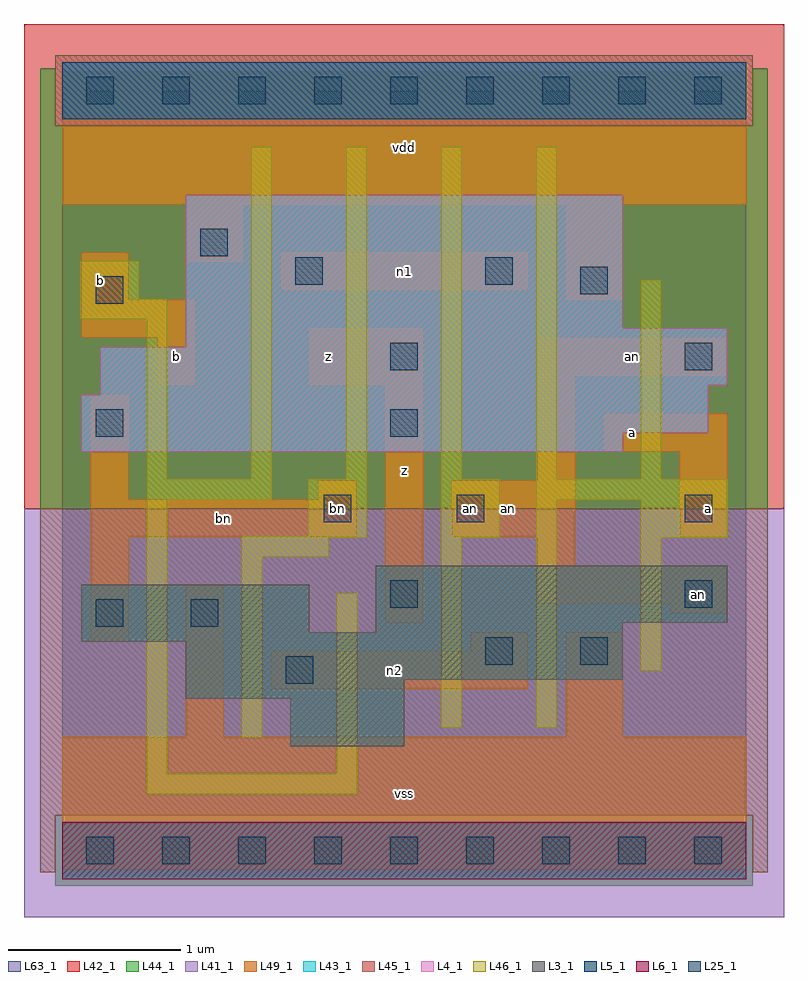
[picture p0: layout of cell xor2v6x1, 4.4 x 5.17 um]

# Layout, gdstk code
import gdstk
lib = gdstk.Library(unit=1e-6, precision=1e-09)
def R(c, l, rs):  # rectangles x0, y0, x1, y1
    for r in rs: c.add(gdstk.rectangle(r[:2], r[2:], *l))
def A(c, l, x, y, w, h, nx, ny, dx, dy):  # array of equal rectangles
    R(c, l, [(x+i*dx, y+j*dy, x+i*dx+w, y+j*dy+h) for i in range(nx) for j in range(ny)])
L3_1 = (3, 1)
L4_1 = (4, 1)
L5_1 = (5, 1)
L6_1 = (6, 1)
L25_1 = (25, 1)
L41_1 = (41, 1)
L42_1 = (42, 1)
L43_1 = (43, 1)
L44_1 = (44, 1)
L45_1 = (45, 1)
L46_1 = (46, 1)
L49_1 = (49, 1)
L63_1 = (63, 1)

xor2v6x1 = lib.new_cell('xor2v6x1')
R(xor2v6x1, L3_1, [(1.32,0.605,1.98,0.88), (0.715,0.88,1.98,0.99), (0.715,0.99,3.245,1.21), (0.11,1.21,3.245,1.265), (0.11,1.265,1.43,1.54), (1.815,1.265,3.245,1.32), (1.815,1.32,3.85,1.65)])
R(xor2v6x1, L4_1, [(0.11,2.31,3.245,2.42), (0.11,2.42,3.74,2.64), (0.22,2.64,3.74,2.695), (0.22,2.695,3.85,2.915), (0.715,2.915,3.85,3.025), (0.715,3.025,3.245,3.795)])
R(xor2v6x1, L5_1, [(0,4.235,3.96,4.565)])
R(xor2v6x1, L6_1, [(0,-0.165,3.96,0.165)])
A(xor2v6x1, L25_1, 0.14, -0.08, 0.16, 0.16, 9, 2, 0.44, 4.4)
R(xor2v6x1, L25_1, [(1.295,0.965,1.455,1.125), (2.45,1.075,2.61,1.235), (3,1.075,3.16,1.235), (0.195,1.295,0.355,1.455), (0.745,1.295,0.905,1.455), (1.9,1.405,2.06,1.565), (3.605,1.405,3.765,1.565), (1.515,1.9,1.675,2.06), (2.285,1.9,2.445,2.06), (3.605,1.9,3.765,2.06), (0.195,2.395,0.355,2.555), (1.9,2.395,2.06,2.555), (1.9,2.78,2.06,2.94), (3.605,2.78,3.765,2.94), (0.195,3.165,0.355,3.325), (3,3.22,3.16,3.38), (1.35,3.275,1.51,3.435), (2.45,3.275,2.61,3.435), (0.8,3.44,0.96,3.6)])
R(xor2v6x1, L41_1, [(-0.22,-0.385,4.18,1.98)])
R(xor2v6x1, L42_1, [(-0.22,1.98,4.18,4.785)])
R(xor2v6x1, L43_1, [(0,-0.165,3.96,0.165), (1.32,0.605,1.98,0.88), (0.715,0.88,1.98,0.99), (0.715,0.99,3.245,1.21), (0.11,1.21,3.245,1.265), (0.11,1.265,1.43,1.54), (1.815,1.265,3.245,1.32), (1.815,1.32,3.85,1.65), (0.11,2.31,3.245,2.42), (0.11,2.42,3.74,2.64), (0.22,2.64,3.74,2.695), (0.22,2.695,3.85,2.915), (0.715,2.915,3.85,3.025), (0.715,3.025,3.245,3.795), (0,4.235,3.96,4.565)])
R(xor2v6x1, L44_1, [(-0.04,-0.205,4,0.205), (-0.125,1.98,4.085,4.195), (-0.125,4.195,-0.04,4.525), (4,4.195,4.085,4.525)])
R(xor2v6x1, L45_1, [(-0.125,-0.125,-0.04,0.205), (4,-0.125,4.085,0.205), (-0.125,0.205,4.085,1.98), (-0.04,4.195,4,4.605)])
A(xor2v6x1, L46_1, 1.095, 2.15, 0.12, 1.925, 4, 1, 0.55, 0)
R(xor2v6x1, L46_1, [(0.49,0.325,1.71,0.445), (0.49,0.445,0.61,2.03), (1.59,0.445,1.71,1.49), (1.04,0.655,1.16,1.7), (2.195,0.71,2.315,1.81), (2.745,0.71,2.865,2.03), (3.35,1.04,3.47,1.81), (1.04,1.7,1.545,1.81), (1.04,1.81,1.765,1.82), (2.195,1.81,2.535,2.15), (3.35,1.81,3.855,2.03), (1.425,1.82,1.765,2.15), (0.49,2.03,1.215,2.15), (2.745,2.03,3.855,2.15), (0.49,2.15,0.61,3.075), (3.35,2.15,3.47,3.305), (0.105,3.075,0.61,3.195), (0.105,3.195,0.445,3.415)])
R(xor2v6x1, L49_1, [(0,-0.11,3.96,0.66), (0.715,0.66,0.935,1.54), (2.915,0.66,3.245,1.265), (1.21,0.935,2.695,1.155), (2.365,1.155,2.695,1.265), (0.165,1.21,0.385,1.815), (1.87,1.32,2.09,2.695), (3.52,1.375,3.85,1.43), (2.75,1.43,3.85,1.65), (2.75,1.65,2.97,1.815), (0.165,1.815,1.705,2.035), (2.255,1.815,2.97,2.145), (3.575,1.815,3.85,2.31), (0.165,2.035,0.385,2.64), (1.485,2.035,1.705,2.145), (2.75,2.145,2.97,2.75), (3.135,2.31,3.85,2.53), (0.55,2.695,0.77,2.97), (1.43,2.695,2.09,3.025), (2.75,2.75,3.85,2.97), (0.11,2.97,0.77,3.19), (0.11,3.19,0.385,3.465), (2.915,3.19,3.245,3.74), (1.265,3.245,2.695,3.465), (0.715,3.41,1.045,3.74), (0,3.74,3.96,4.51)])
R(xor2v6x1, L63_1, [(0,0,3.96,4.4)])
xor2v6x1.add(gdstk.Label('bn', (1.595,1.98), layer=49, texttype=1))
xor2v6x1.add(gdstk.Label('an', (2.365,1.98), layer=49, texttype=1))
xor2v6x1.add(gdstk.Label('b', (0.66,2.86), layer=49, texttype=1))
xor2v6x1.add(gdstk.Label('b', (0.22,3.3), layer=49, texttype=1))
xor2v6x1.add(gdstk.Label('bn', (0.935,1.925), layer=49, texttype=1))
xor2v6x1.add(gdstk.Label('z', (1.54,2.86), layer=49, texttype=1))
xor2v6x1.add(gdstk.Label('vss', (1.98,0.33), layer=49, texttype=1))
xor2v6x1.add(gdstk.Label('n2', (1.925,1.045), layer=49, texttype=1))
xor2v6x1.add(gdstk.Label('an', (2.585,1.98), layer=49, texttype=1))
xor2v6x1.add(gdstk.Label('z', (1.98,2.2), layer=49, texttype=1))
xor2v6x1.add(gdstk.Label('n1', (1.98,3.355), layer=49, texttype=1))
xor2v6x1.add(gdstk.Label('vdd', (1.98,4.07), layer=49, texttype=1))
xor2v6x1.add(gdstk.Label('an', (3.685,1.485), layer=49, texttype=1))
xor2v6x1.add(gdstk.Label('a', (3.74,1.98), layer=49, texttype=1))
xor2v6x1.add(gdstk.Label('a', (3.3,2.42), layer=49, texttype=1))
xor2v6x1.add(gdstk.Label('an', (3.3,2.86), layer=49, texttype=1))

lib.write_gds('xor2v6x1.gds')
